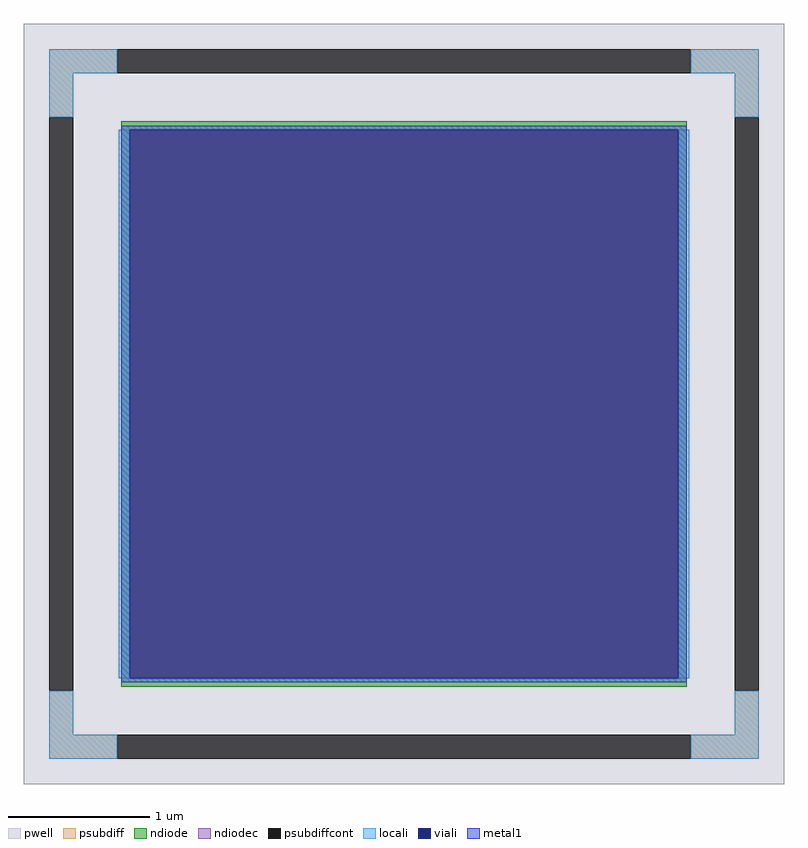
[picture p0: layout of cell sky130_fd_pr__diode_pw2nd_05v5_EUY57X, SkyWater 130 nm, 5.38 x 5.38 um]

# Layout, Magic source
magic
tech sky130A
<< pwell >>
rect -269 -269 269 269
<< psubdiff >>
rect -251 234 -203 251
rect 203 234 251 251
rect -251 203 -234 234
rect 234 203 251 234
rect -251 -234 -234 -203
rect 234 -234 251 -203
rect -251 -251 -203 -234
rect 203 -251 251 -234
<< psubdiffcont >>
rect -203 234 203 251
rect -251 -203 -234 203
rect 234 -203 251 203
rect -203 -251 203 -234
<< ndiode >>
rect -200 194 200 200
rect -200 -194 -194 194
rect 194 -194 200 194
rect -200 -200 200 -194
<< ndiodec >>
rect -194 -194 194 194
<< locali >>
rect -251 234 -203 251
rect 203 234 251 251
rect -251 203 -234 234
rect 234 203 251 234
rect -202 -194 -194 194
rect 194 -194 202 194
rect -251 -234 -234 -203
rect 234 -234 251 -203
rect -251 -251 -203 -234
rect 203 -251 251 -234
<< viali >>
rect -194 -194 194 194
<< metal1 >>
rect -200 194 200 197
rect -200 -194 -194 194
rect 194 -194 200 194
rect -200 -197 200 -194
<< properties >>
string FIXED_BBOX -242 -242 242 242
string gencell sky130_fd_pr__diode_pw2nd_05v5
string library sky130
string parameters w 4 l 4 area 16.0 peri 16.0 nx 1 ny 1 dummy 0 lmin 0.45 wmin 0.45 elc 1 erc 1 etc 1 ebc 1 doverlap 0 compatible {sky130_fd_pr__diode_pw2nd_05v5 sky130_fd_pr__diode_pw2nd_05v5_lvt  sky130_fd_pr__diode_pw2nd_05v5_nvt sky130_fd_pr__diode_pw2nd_11v0} full_metal 1 vias 1 viagb 0 viagt 0 viagl 0 viagr 0
<< end >>
